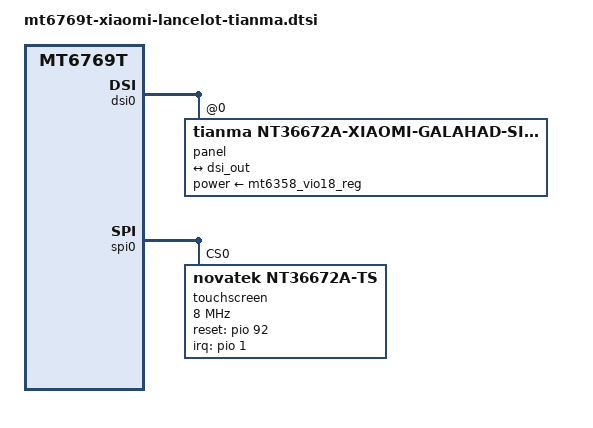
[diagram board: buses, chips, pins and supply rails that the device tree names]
// SPDX-License-Identifier: GPL-2.0-only
/*
 * Common Device Tree Source for Xiaomi Redmi 9 with Tianma NT36672A panel
 */

&dsi0 {
	status = "okay";
	#address-cells = <1>;
	#size-cells = <0>;

	panel: panel@0 {
		compatible = "tianma,nt36672a-xiaomi-galahad-simple";
		reg = <0>;
		power-supply = <&mt6358_vio18_reg>;

		port {
			panel_in: endpoint {
				remote-endpoint = <&dsi_out>;
			};
		};
	};
};

&spi0 {
       status = "okay";
       #address-cells = <1>;
       #size-cells = <0>;
       mediatek,pad-select = <0>;

       touchscreen@0 {
               compatible = "novatek,nt36672a-ts";
               reg = <0>;

               firmware-name = "ts.bin";

               interrupts-extended = <&pio 1 IRQ_TYPE_EDGE_RISING>;
               reset-gpios = <&pio 92 GPIO_ACTIVE_HIGH>;
               panel = <&panel>;

               spi-cs-setup-delay-ns = <20>;
               spi-max-frequency = <8000000>;
       };
};
